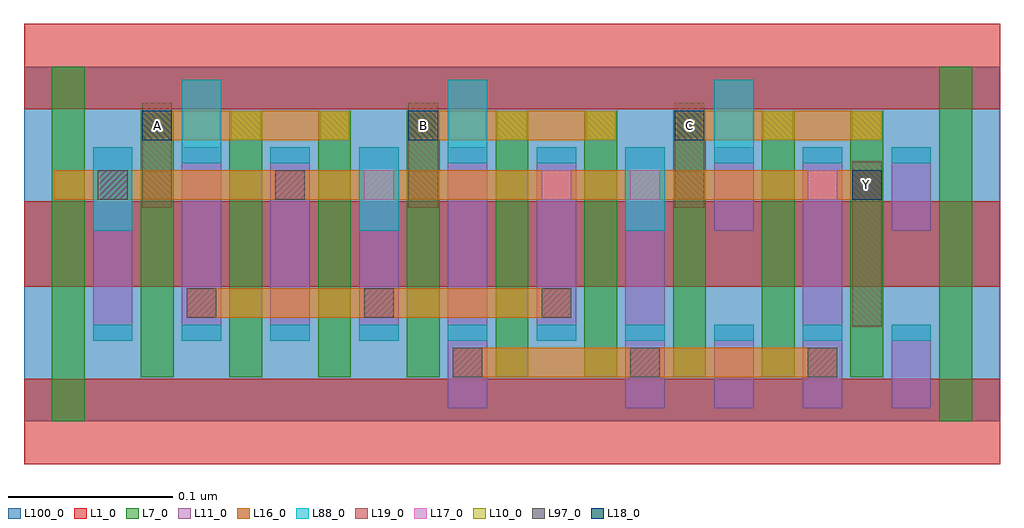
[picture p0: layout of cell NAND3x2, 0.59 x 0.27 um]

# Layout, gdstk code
import gdstk
lib = gdstk.Library(unit=1e-6, precision=2.5e-10)
def R(c, l, rs):  # rectangles x0, y0, x1, y1
    for r in rs: c.add(gdstk.rectangle(r[:2], r[2:], *l))
def A(c, l, x, y, w, h, nx, ny, dx, dy):  # array of equal rectangles
    R(c, l, [(x+i*dx, y+j*dy, x+i*dx+w, y+j*dy+h) for i in range(nx) for j in range(ny)])
L1_0 = (1, 0)
L7_0 = (7, 0)
L10_0 = (10, 0)
L11_0 = (11, 0)
L16_0 = (16, 0)
L17_0 = (17, 0)
L18_0 = (18, 0)
L19_0 = (19, 0)
L88_0 = (88, 0)
L97_0 = (97, 0)
L100_0 = (100, 0)

nand3x2 = lib.new_cell('NAND3x2')
A(nand3x2, L1_0, 0, -0.026, 0.594, 0.052, 1, 3, 0, 0.108)
A(nand3x2, L7_0, 0.071, 0.027, 0.02, 0.081, 9, 2, 0.054, 0.081)
R(nand3x2, L7_0, [(0.017,0,0.037,0.108), (0.557,0,0.577,0.108), (0.017,0.108,0.037,0.216), (0.557,0.108,0.577,0.216)])
A(nand3x2, L10_0, 0.072, 0.171, 0.018, 0.018, 9, 1, 0.054, 0)
A(nand3x2, L11_0, 0.258, 0.008, 0.024, 0.1, 3, 1, 0.108, 0)
A(nand3x2, L11_0, 0.042, 0.049, 0.024, 0.059, 4, 1, 0.054, 0)
A(nand3x2, L11_0, 0.042, 0.108, 0.024, 0.059, 7, 1, 0.054, 0)
R(nand3x2, L11_0, [(0.42,0.008,0.444,0.059), (0.528,0.008,0.552,0.059), (0.312,0.049,0.336,0.108), (0.474,0.108,0.498,0.167), (0.42,0.116,0.444,0.167), (0.528,0.116,0.552,0.167)])
A(nand3x2, L16_0, 0.072, 0.171, 0.126, 0.018, 3, 1, 0.162, 0)
R(nand3x2, L16_0, [(0.261,0.027,0.495,0.045), (0.099,0.063,0.333,0.081), (0.018,0.135,0.522,0.153)])
A(nand3x2, L17_0, 0.261, 0.027, 0.018, 0.018, 3, 1, 0.108, 0)
A(nand3x2, L17_0, 0.099, 0.063, 0.018, 0.018, 3, 1, 0.108, 0)
R(nand3x2, L17_0, [(0.045,0.135,0.063,0.153), (0.153,0.135,0.171,0.153), (0.207,0.135,0.225,0.153), (0.315,0.135,0.333,0.153), (0.369,0.135,0.387,0.153), (0.477,0.135,0.495,0.153)])
A(nand3x2, L18_0, 0.072, 0.171, 0.018, 0.018, 3, 1, 0.162, 0)
R(nand3x2, L18_0, [(0.504,0.135,0.522,0.153)])
A(nand3x2, L19_0, 0.072, 0.13, 0.018, 0.064, 3, 1, 0.162, 0)
R(nand3x2, L19_0, [(0.504,0.058,0.522,0.158)])
A(nand3x2, L88_0, 0.042, 0.049, 0.024, 0.01, 10, 1, 0.054, 0)
A(nand3x2, L88_0, 0.042, 0.116, 0.024, 0.051, 3, 1, 0.162, 0)
A(nand3x2, L88_0, 0.096, 0.157, 0.024, 0.051, 3, 1, 0.162, 0)
A(nand3x2, L88_0, 0.15, 0.157, 0.024, 0.01, 3, 1, 0.162, 0)
R(nand3x2, L88_0, [(0.528,0.157,0.552,0.167)])
A(nand3x2, L97_0, 0.261, 0.027, 0.018, 0.018, 3, 1, 0.108, 0)
A(nand3x2, L97_0, 0.099, 0.063, 0.018, 0.018, 3, 1, 0.108, 0)
R(nand3x2, L97_0, [(0.045,0.135,0.063,0.153), (0.153,0.135,0.171,0.153)])
R(nand3x2, L100_0, [(0,0,0.594,0.216)])
nand3x2.add(gdstk.Label('A', (0.081,0.18), layer=19, texttype=251))
nand3x2.add(gdstk.Label('B', (0.243,0.18), layer=19, texttype=251))
nand3x2.add(gdstk.Label('C', (0.405,0.18), layer=19, texttype=251))
nand3x2.add(gdstk.Label('Y', (0.513,0.144), layer=19, texttype=251))

lib.write_gds('NAND3x2.gds')
